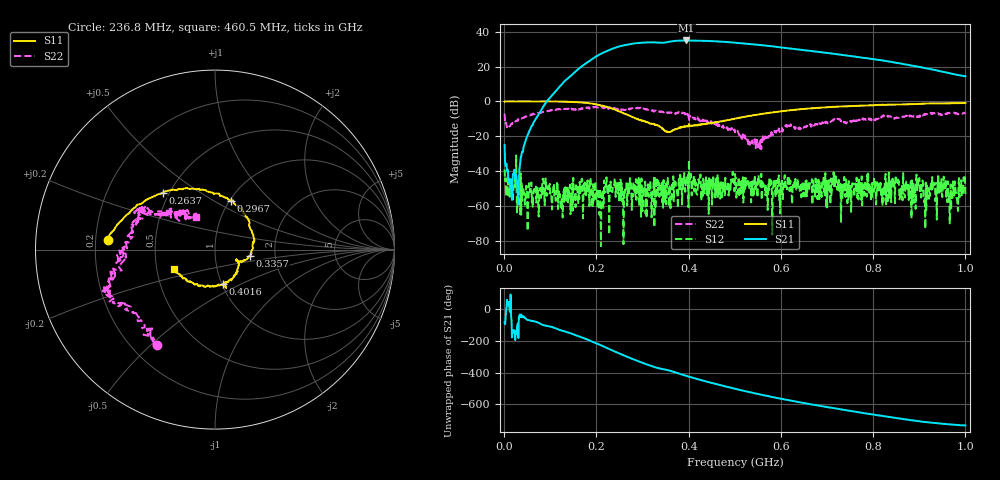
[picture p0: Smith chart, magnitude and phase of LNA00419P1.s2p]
! Created with skrf 1.9.0 (http://scikit-rf.org).
# Hz S RI R 50.0
!freq ReS11 ImS11 ReS21 ImS21 ReS12 ImS12 ReS22 ImS22
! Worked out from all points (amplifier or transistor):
!   1001 points, 1 MHz to 1 GHz, reference 50 ohm
!   highest |S21| = 35.0 dB at 394.6 MHz (marker M1)
!   |S21| within 3 dB of that: 256.4 MHz to 568.3 MHz (311.9 MHz wide, 75.6 % of centre)
!   unconditionally stable (mu >= 1): 231 MHz to 291.6 MHz; 291.7 MHz to 400.4 MHz; 401.1 MHz to end of sweep (the widest 3 of 38)
!   at 166.8 MHz: K = 1.93, MAG = 29.9 dB, |S12| = -51.1 dB
!   at 500.5 MHz: K = 1.28, MAG = 34.5 dB, |S12| = -41.6 dB
!   at 1 GHz: K = 6.89, MAG = 23.0 dB, |S12| = -54.3 dB
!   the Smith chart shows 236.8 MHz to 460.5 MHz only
!   S11 on the Smith chart (normalised r, x): 236.8 MHz: 0.25, +0.04; 263.7 MHz: 0.46, +0.36; 296.7 MHz: 1.01, +0.60; 335.7 MHz: 1.48, -0.10; 401.6 MHz: 1.01, -0.40; 460.5 MHz: 0.61, -0.14
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1000000  0.9745 0.00226  0.0066 -0.0553  -0.0102 -0.00446  0.3484 0.2729
1.08892e8  0.5245 -0.845  -0.8562 -1.553  -0.00124 0.00157  0.4138 -0.3816
1.67833e8  -0.2248 -0.9003  -10.09 -0.3622  -0.00133 -0.00564  0.018 -0.6443
2.07793e8  -0.6518 -0.4223  -15.68 16.12  -0.000256 -0.00306  -0.21 -0.6534
2.36764e8  -0.596 0.055  -3.868 33.17  0.00149 -0.0033  -0.3254 -0.5337
2.63737e8  -0.2919 0.3173  19.12 37.02  -0.00242 0.000608  -0.4603 -0.3473
2.96704e8  0.0877 0.2713  43.44 20.32  0.000489 -1.82e-06  -0.5785 -0.1935
3.14686e8  0.1909 0.1423  49.06 4.884  -0.00125 -0.00182  -0.558 -0.1402
3.34666e8  0.1999 -0.0294  47.6 -10.49  -0.00227 0.00342  -0.5159 -0.0213
3.35665e8  0.1938 -0.0338  47.15 -11.25  -0.00416 0.0024  -0.5154 -9.18e-05
3.67633e8  0.1305 -0.074  44.08 -31.36  -0.00121 0.00063  -0.4248 0.1657
3.94606e8  0.0763 -0.176  27.76 -48.87  -0.00167 0.00418  -0.4054 0.204
4.01599e8  0.0437 -0.1921  22.22 -51.37  0.000971 0.00448  -0.3366 0.1976
4.31569e8  -0.1123 -0.1923  -0.8246 -54.92  0.00492 0.00348  -0.2079 0.1925
4.6054e8  -0.2296 -0.1065  -20.94 -48.63  0.00261 -0.000709  -0.1078 0.1819
5.005e8  -0.302 0.1074  -38.38 -29.85  0.00825 0.000538  -0.0781 0.1027
5.4046e8  -0.2459 0.3167  -42.42 -8.66  0.00171 -0.000479  -0.0566 0.0225
5.88412e8  -0.0548 0.4911  -35.37 11.54  0.00174 -0.000143  -0.1193 -0.0531
6.67333e8  0.3272 0.5436  -13.4 24.2  0.00443 -0.00379  -0.1924 -0.0465
7.53247e8  0.6355 0.3675  4.318 19.37  0.00107 -0.00178  -0.2595 0.0108
8.34166e8  0.7891 0.1317  10.53 9.164  -0.00752 -0.00522  -0.3743 0.0105
1e9  0.8089 -0.3985  5.14 -1.16  0.000218 0.0019  -0.3073 0.3526
